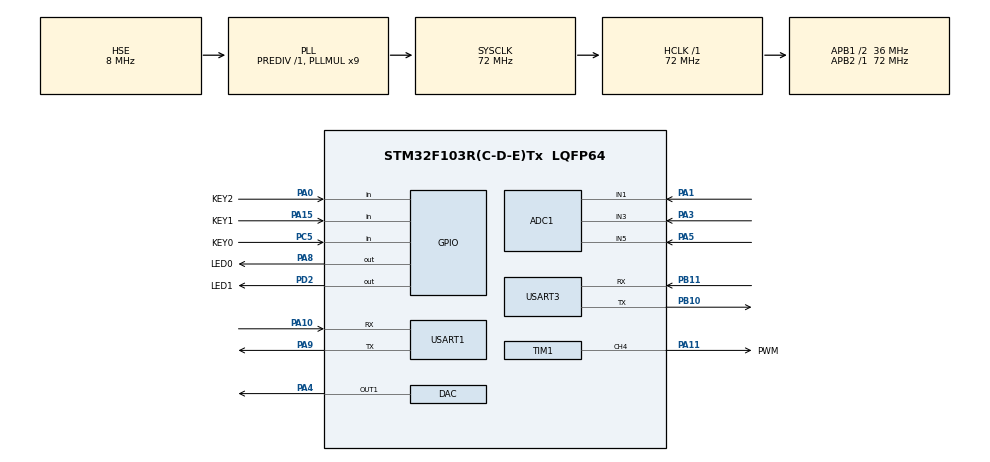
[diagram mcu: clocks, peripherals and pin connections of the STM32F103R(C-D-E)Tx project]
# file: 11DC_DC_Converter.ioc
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Mcu.Family=STM32F1
NVIC.USART3_IRQn=true\:0\:2\:false\:false\:true\:true\:true
NVIC.ADC1_2_IRQn=true\:0\:0\:false\:false\:true\:true\:true
SH.S_TIM1_CH4.0=TIM1_CH4,PWM Generation4 CH4
PD2.GPIO_ModeDefaultOutputPP=GPIO_MODE_OUTPUT_PP
PA15.GPIO_Mode=GPIO_MODE_INPUT
PB10.Mode=Asynchronous
ADC1.ContinuousConvMode=ENABLE
PD2.GPIO_Speed=GPIO_SPEED_FREQ_HIGH
PB11.Signal=USART3_RX
RCC.SYSCLKSource=RCC_SYSCLKSOURCE_PLLCLK
ProjectManager.StackSize=0x400
PD1-OSC_OUT.Signal=RCC_OSC_OUT
PA15.GPIO_Label=KEY1
TIM1.Prescaler=1-1
ADC1.Channel-5\#ChannelRegularConversion=ADC_CHANNEL_3
TIM1.Channel-PWM\ Generation4\ CH4=TIM_CHANNEL_4
ADC1.Channel-3\#ChannelRegularConversion=ADC_CHANNEL_1
RCC.HCLKFreq_Value=72000000
SH.ADCx_IN3.0=ADC1_IN3,IN3
RCC.APB2TimFreq_Value=72000000
Dma.ADC1.0.Direction=DMA_PERIPH_TO_MEMORY
Dma.ADC1.0.MemDataAlignment=DMA_MDATAALIGN_HALFWORD
RCC.AHBFreq_Value=72000000
RCC.PLLMUL=RCC_PLL_MUL9
ADC1.SamplingTime-4\#ChannelRegularConversion=ADC_SAMPLETIME_239CYCLES_5
PA14.Mode=Serial_Wire
Dma.ADC1.0.PeriphInc=DMA_PINC_DISABLE
PA8.Signal=GPIO_Output
PA8.GPIO_ModeDefaultOutputPP=GPIO_MODE_OUTPUT_PP
VP_TIM1_VS_ClockSourceINT.Mode=Internal
Mcu.Package=LQFP64
PA10.Signal=USART1_RX
PA15.Signal=GPIO_Input
SH.ADCx_IN1.0=ADC1_IN1,IN1
RCC.APB1TimFreq_Value=72000000
PC5.Signal=GPIO_Input
TIM1.Period=3600-1
NVIC.USART1_IRQn=true\:0\:1\:false\:false\:true\:true\:true
Dma.Request0=ADC1
PA8.GPIO_Speed=GPIO_SPEED_FREQ_HIGH
PA8.PinState=GPIO_PIN_SET
ADC1.Rank-4\#ChannelRegularConversion=2
PA3.Signal=ADCx_IN3
RCC.PLLSourceVirtual=RCC_PLLSOURCE_HSE
SH.COMP_DAC1_group.0=DAC_OUT1,DAC_OUT1
Dma.ADC1.0.Instance=DMA1_Channel1
PD1-OSC_OUT.Mode=HSE-External-Oscillator
ADC1.Channel-4\#ChannelRegularConversion=ADC_CHANNEL_5
PA10.Mode=Asynchronous
PD2.GPIO_PuPd=GPIO_PULLUP
PA11.GPIO_Label=PWM
PD0-OSC_IN.Signal=RCC_OSC_IN
RCC.APB1CLKDivider=RCC_HCLK_DIV2
PC5.GPIO_PuPd=GPIO_PULLUP
PA0-WKUP.GPIO_Label=KEY2
PA0-WKUP.Signal=GPIO_Input
RCC.ADCPresc=RCC_ADCPCLK2_DIV6
PA13.Signal=SYS_JTMS-SWDIO
Dma.ADC1.0.PeriphDataAlignment=DMA_PDATAALIGN_HALFWORD
PA9.Mode=Asynchronous
PA8.GPIO_Label=LED0
PB11.Mode=Asynchronous
ProjectManager.TargetToolchain=STM32CubeIDE
Dma.ADC1.0.Mode=DMA_CIRCULAR
Dma.ADC1.0.Priority=DMA_PRIORITY_LOW
PA9.Signal=USART1_TX
RCC.USBFreq_Value=72000000
PA1.Signal=ADCx_IN1
PB10.Signal=USART3_TX
PD0-OSC_IN.Mode=HSE-External-Oscillator
PA5.Signal=ADCx_IN5
PD2.PinState=GPIO_PIN_SET
board=custom
RCC.APB2Freq_Value=72000000
ADC1.NbrOfConversion=3
PA13.Mode=Serial_Wire
Mcu.Name=STM32F103R(C-D-E)Tx
PA4.Signal=COMP_DAC1_group
RCC.SYSCLKFreq_VALUE=72000000
ADC1.master=1
ADC1.Rank-3\#ChannelRegularConversion=1
ADC1.SamplingTime-3\#ChannelRegularConversion=ADC_SAMPLETIME_239CYCLES_5
PC5.GPIO_Label=KEY0
USART3.VirtualMode=VM_ASYNC
USART1.VirtualMode=VM_ASYNC
PA11.Signal=S_TIM1_CH4
PC5.GPIO_Mode=GPIO_MODE_INPUT
PA14.Signal=SYS_JTCK-SWCLK
Dma.ADC1.0.MemInc=DMA_MINC_ENABLE
ProjectManager.HeapSize=0x200
ADC1.SamplingTime-5\#ChannelRegularConversion=ADC_SAMPLETIME_239CYCLES_5
TIM1.Pulse-PWM\ Generation4\ CH4=1800-1
PA8.GPIO_PuPd=GPIO_PULLUP
SH.ADCx_IN5.0=ADC1_IN5,IN5
NVIC.PriorityGroup=NVIC_PRIORITYGROUP_2
ADC1.NbrOfConversionFlag=1
PA15.GPIO_PuPd=GPIO_PULLUP
PA0-WKUP.GPIO_PuPd=GPIO_PULLDOWN
PD2.Signal=GPIO_Output
RCC.APB1Freq_Value=36000000
ADC1.Rank-5\#ChannelRegularConversion=3
PD2.GPIO_Label=LED1

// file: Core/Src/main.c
/* USER CODE BEGIN Header */
/**
  ******************************************************************************
  * @file           : main.c
  * @brief          : Main program body
  ******************************************************************************
  * @attention
  *
  * <h2><center>&copy; Copyright (c) 2021 STMicroelectronics.
  * All rights reserved.</center></h2>
  *
  * This software component is licensed by ST under BSD 3-Clause license,
  * the "License"; You may not use this file except in compliance with the
  * License. You may obtain a copy of the License at:
  *                        opensource.org/licenses/BSD-3-Clause
  *
  ******************************************************************************
  */
/* USER CODE END Header */
#include "main.h"
#include "adc.h"
#include "dac.h"
#include "dma.h"
#include "tim.h"
#include "usart.h"
#include "gpio.h"

/* USER CODE BEGIN Includes */
#include "base.h"
#include "hmi_user_uart.h"
#include "hmi_driver.h"

#include "stdio.h"
#include "pid.h"
/* USER CODE END Includes */

/* USER CODE BEGIN PD */
#define TP_CHECK(x0,y0,x1,y1) tp_dev.x[0] > x0 && tp_dev.y[0] > y0 && tp_dev.x[0] < x1 && tp_dev.y[0] < y1
/* USER CODE END PD */

void SystemClock_Config(void);

/* USER CODE BEGIN 0 */
u16 val[3];
u8 str[40] = {0};
u8 mode = 0,next_mode=0;  //0:开环 1:稳压 2:稳压 3:放电 4:预备较准 5:放电判断
u8 autoMode = 0; 		  //自动适应
u8 OK = 0;				  //没有OK
float vcc = 3.29999971f;//3.29999971
/* USER CODE END 0 */

int main(void)
{
  /* USER CODE BEGIN 1 */
  u8 key;
  /* USER CODE END 1 */

  /* MCU Configuration--------------------------------------------------------*/

  /* Reset of all peripherals, Initializes the Flash interface and the Systick. */
  HAL_Init();

  /* Configure the system clock */
  SystemClock_Config();

  /* Initialize all configured peripherals */
  MX_GPIO_Init();
  MX_DMA_Init();
  MX_USART1_UART_Init();
  MX_TIM1_Init();
  MX_ADC1_Init();
  MX_USART3_UART_Init();
  MX_DAC_Init();
  /* USER CODE BEGIN 2 */
  delay_init(72);
  TFT_Init();
  PID_Init(30,10,50,100);
  HAL_TIM_PWM_Start(&htim1, TIM_CHANNEL_4);
  HAL_DAC_Start(&hdac, DAC_CHANNEL_1);
  hdac.Instance->DHR12L1 = 1024;
  HAL_ADC_Start_DMA(&hadc1, (u32*)val, 3);
  __HAL_ADC_ENABLE_IT(&hadc1, ADC_IT_EOC);
  TIM1->CCR4 = 2100;
  /* USER CODE END 2 */

  /* Infinite loop */
  while (1)
  {

    /* USER CODE BEGIN 3 */
	// 10V 占空比最高
	//pid.limit
	//
	delay_ms(10);
	sprintf((char *)str,"v1:%4d,v2:%4d,v3:%4d\r\n",val[0], val[1], val[2]);
	HAL_UART_Transmit_IT(&huart3, str,40);

    delay_ms(50);
    key = KEY_Scan(0);
    if(key == KEY0_PRES)
    {
    	next_mode = 1;
    }
    if(key == KEY1_PRES)
    {
    	next_mode = 2;
    }

	if(next_mode != mode)
	{
		switch(next_mode)
		{
			case 0:
			{
  			  	SetTextValue(0,21,(u8*)"开环");
				TIM1->CCR4 = 2100;
			}
			case 1/*稳流*/:
			{
  			  	SetTextValue(0,21,(u8*)"稳流");
  			  	if(mode = 2)
  			  	{
  			  		PID.Kd = 10;
  			  		PID.Ki = 10;
  			  		PID.Kp = 10;
  			  	}
				TIM1->CCR4 = 2100;
			}break;
			case 2/*稳压*/:
			{
  			  	SetTextValue(0,21,(u8*)"稳压");
  			  	if(mode = 2)
  			  	{
  			  		PID.Kd = 30;
  			  		PID.Ki = 40;
  			  		PID.Kp = 50;
  			  	}
				TIM1->CCR4 = 2100;
			}break;
			case 3/*放电*/:
			{
  			  	SetTextValue(0,21,(u8*)"放电");
				PID_Init(-30,-40,-50,70);
				TIM1->CCR4 = 2100;
			}break;
			case 4/**/:
			{
  			  	SetTextValue(0,21,(u8*)"未接负载");
			}
			case 8/*稳压-充电完毕*/:
			{
  			  	SetTextValue(0,21,(u8*)"充电完毕");
			}break;
		}
		if(next_mode == 8) mode = 2;
		else mode = next_mode;
	}
  }
  /* USER CODE END 3 */
}

void SystemClock_Config(void)
{
  RCC_OscInitTypeDef RCC_OscInitStruct = {0};
  RCC_ClkInitTypeDef RCC_ClkInitStruct = {0};
  RCC_PeriphCLKInitTypeDef PeriphClkInit = {0};

  /** Initializes the RCC Oscillators according to the specified parameters
  * in the RCC_OscInitTypeDef structure.
  */
  RCC_OscInitStruct.OscillatorType = RCC_OSCILLATORTYPE_HSE;
  RCC_OscInitStruct.HSEState = RCC_HSE_ON;
  RCC_OscInitStruct.HSEPredivValue = RCC_HSE_PREDIV_DIV1;
  RCC_OscInitStruct.HSIState = RCC_HSI_ON;
  RCC_OscInitStruct.PLL.PLLState = RCC_PLL_ON;
  RCC_OscInitStruct.PLL.PLLSource = RCC_PLLSOURCE_HSE;
  RCC_OscInitStruct.PLL.PLLMUL = RCC_PLL_MUL9;
  if (HAL_RCC_OscConfig(&RCC_OscInitStruct) != HAL_OK)
  {
    Error_Handler();
  }
  /** Initializes the CPU, AHB and APB buses clocks
  */
  RCC_ClkInitStruct.ClockType = RCC_CLOCKTYPE_HCLK|RCC_CLOCKTYPE_SYSCLK
                              |RCC_CLOCKTYPE_PCLK1|RCC_CLOCKTYPE_PCLK2;
  RCC_ClkInitStruct.SYSCLKSource = RCC_SYSCLKSOURCE_PLLCLK;
  RCC_ClkInitStruct.AHBCLKDivider = RCC_SYSCLK_DIV1;
  RCC_ClkInitStruct.APB1CLKDivider = RCC_HCLK_DIV2;
  RCC_ClkInitStruct.APB2CLKDivider = RCC_HCLK_DIV1;

  if (HAL_RCC_ClockConfig(&RCC_ClkInitStruct, FLASH_LATENCY_2) != HAL_OK)
  {
    Error_Handler();
  }
  PeriphClkInit.PeriphClockSelection = RCC_PERIPHCLK_ADC;
  PeriphClkInit.AdcClockSelection = RCC_ADCPCLK2_DIV6;
  if (HAL_RCCEx_PeriphCLKConfig(&PeriphClkInit) != HAL_OK)
  {
    Error_Handler();
  }
}

void Error_Handler(void)
{
  __disable_irq();
  while (1)
  {
  }
}

/************************ (C) COPYRIGHT STMicroelectronics *****END OF FILE****/
